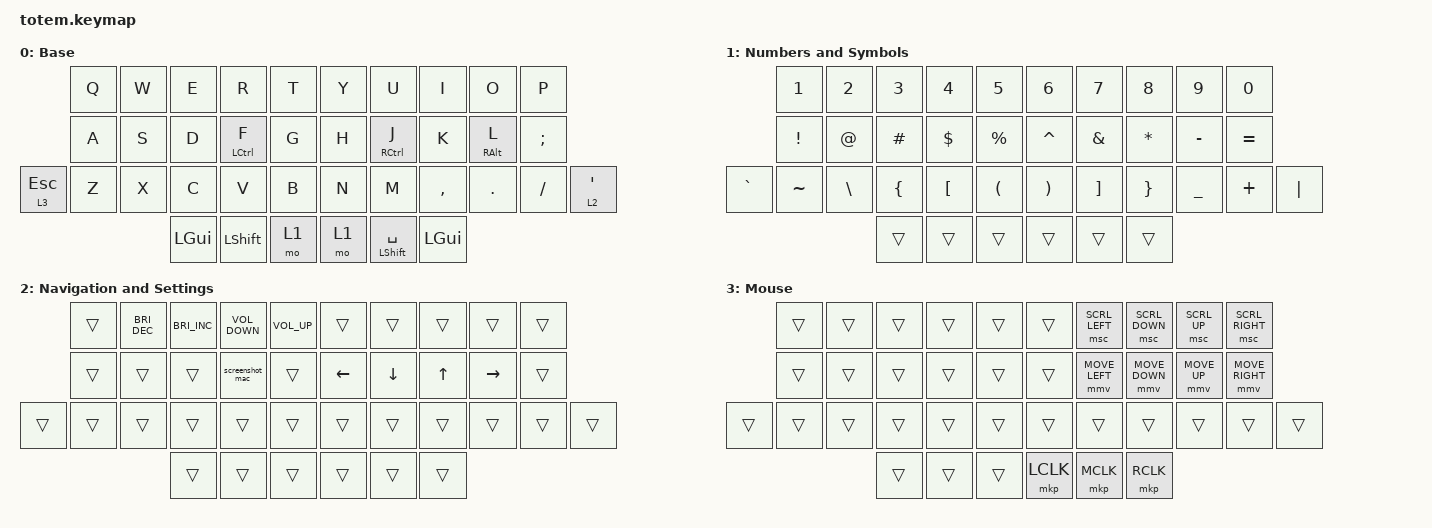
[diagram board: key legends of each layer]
//
//                                                        ▀▀▀▀▀     ▀▀▀▀▀          ▀▀█▀▀
//                                                        ▄▀▀▀▄  ▄  ▄▀▀▀▄  ▄  ▄▀▀▀▄  █  ▄▀▀▀▄
//                                                        █   █  █  █   █  █  █   █  █  █   █
//                                                         ▀▀▀   █   ▀▀▀   █   ▀▀▀   ▀   ▀▀▀
//                                                               █      ▄▄▄█▄▄▄    █   █  
//                                                               ▀      █  █  █     █▄█
//                                                             ▀▀▀▀▀    █  █  █      ▀
//                                                                      ▀  ▀  ▀
//
// ▄▄▄▄▄▄▄▄▄▄▄▄▄▄▄▄▄▄▄▄▄▄▄▄▄▄▄▄▄▄▄▄▄▄▄▄▄▄▄▄▄▄▄▄▄▄▄▄▄▄▄▄▄▄▄▄▄▄▄▄▄▄▄▄▄▄▄▄▄▄▄▄▄▄▄▄▄▄▄▄▄▄▄▄▄▄▄▄▄▄▄▄▄▄▄▄▄▄▄▄▄▄▄▄▄▄▄▄▄▄▄▄▄▄▄▄▄▄▄▄▄▄▄▄▄▄▄▄▄▄▄▄▄▄▄▄▄▄▄▄▄▄▄▄▄▄▄▄▄

#include <behaviors.dtsi>
#include <dt-bindings/zmk/keys.h>
#include <dt-bindings/zmk/pointing.h>

#define Base        0
#define Nav         1
#define Sym         2
#define Fun         3
#define Game        4
#define Gameplus    5

&mt {
    quick-tap-ms = <100>;
    flavor = "tap-preferred";
    tapping-term-ms = <170>;
};

&lt {
    tapping-term-ms = <240>;
    flavor = "balanced";
    quick-tap-ms = <150>;
};

/ {
    behaviors {
        hm: homerow_mods {
            compatible = "zmk,behavior-hold-tap";
            label = "HOMEROW_MODS";
            #binding-cells = <2>;
            flavor = "tap-preferred";
            tapping-term-ms = <200>;
            quick-tap-ms = <150>;
            global-quick-tap;
            bindings = <&kp>, <&kp>;
        };
    };

    combos {
        compatible = "zmk,combos";

        Tab {
            bindings = <&kp TAB>;
            key-positions = <10 11>;
        };

        Return {
            bindings = <&kp RETURN>;
            key-positions = <16 17 18>;
        };

        BackspaceCombo {
            bindings = <&kp BACKSPACE>;
            key-positions = <18 19>;
        };

        DeleteCombo {
            bindings = <&kp DELETE>;
            key-positions = <8 9>;
        };
    };

    macros {
        screenshot_mac: screenshot {
            compatible = "zmk,behavior-macro";
            #binding-cells = <0>;
            bindings = <&kp RG(RS(N5))>, <&macro_tap>;

            label = "SCREENSHOT";
        };
    };

    keymap {
        compatible = "zmk,keymap";

        Base {
            display-name = "Base";
            bindings = <
           &kp Q  &kp W  &kp E         &kp R           &kp T    &kp Y  &kp U             &kp I         &kp O       &kp P
           &kp A  &kp S  &kp D         &hm LCTRL F     &kp G    &kp H  &hm RCTRL J       &kp K         &hm RALT L  &kp SEMICOLON
&lt 3 ESC  &kp Z  &kp X  &kp C         &kp V           &kp B    &kp N  &kp M             &kp COMMA     &kp DOT     &kp SLASH      &lt 2 APOSTROPHE
                         &kp LEFT_GUI  &kp LEFT_SHIFT  &mo 1    &mo 1  &mt LSHIFT SPACE  &kp LEFT_GUI
            >;
        };

        NumsSyms {
            display-name = "Numbers and Symbols";
            bindings = <
           &kp NUMBER_1  &kp NUMBER_2   &kp NUMBER_3    &kp NUMBER_4      &kp N5         &kp NUMBER_6  &kp NUMBER_7       &kp NUMBER_8     &kp NUMBER_9  &kp NUMBER_0
           &kp EXCL      &kp AT_SIGN    &kp HASH        &kp DOLLAR        &kp PERCENT    &kp CARET     &kp AMPS           &kp ASTERISK     &kp MINUS     &kp EQUAL
&kp GRAVE  &kp TILDE     &kp BACKSLASH  &kp LEFT_BRACE  &kp LEFT_BRACKET  &kp LPAR       &kp RPAR      &kp RIGHT_BRACKET  &kp RIGHT_BRACE  &kp UNDER     &kp PLUS      &kp PIPE
                                        &trans          &trans            &trans         &trans        &trans             &trans
            >;
        };

        NavSettings {
            display-name = "Navigation and Settings";
            bindings = <
        &trans  &kp C_BRIGHTNESS_DEC  &kp C_BRIGHTNESS_INC  &kp C_VOLUME_DOWN  &kp C_VOLUME_UP    &trans          &trans          &trans        &trans     &trans
        &trans  &trans                &trans                &screenshot_mac    &trans             &kp LEFT_ARROW  &kp DOWN_ARROW  &kp UP_ARROW  &kp RIGHT  &trans
&trans  &trans  &trans                &trans                &trans             &trans             &trans          &trans          &trans        &trans     &trans  &trans
                                      &trans                &trans             &trans             &trans          &trans          &trans
            >;
        };

        Mouse {
            bindings = <
        &trans  &trans  &trans  &trans  &trans    &trans     &msc SCRL_LEFT  &msc SCRL_DOWN  &msc SCRL_UP  &msc SCRL_RIGHT
        &trans  &trans  &trans  &trans  &trans    &trans     &mmv MOVE_LEFT  &mmv MOVE_DOWN  &mmv MOVE_UP  &mmv MOVE_RIGHT
&trans  &trans  &trans  &trans  &trans  &trans    &trans     &trans          &trans          &trans        &trans           &trans
                        &trans  &trans  &trans    &mkp LCLK  &mkp MCLK       &mkp RCLK
            >;
        };
    };
};
